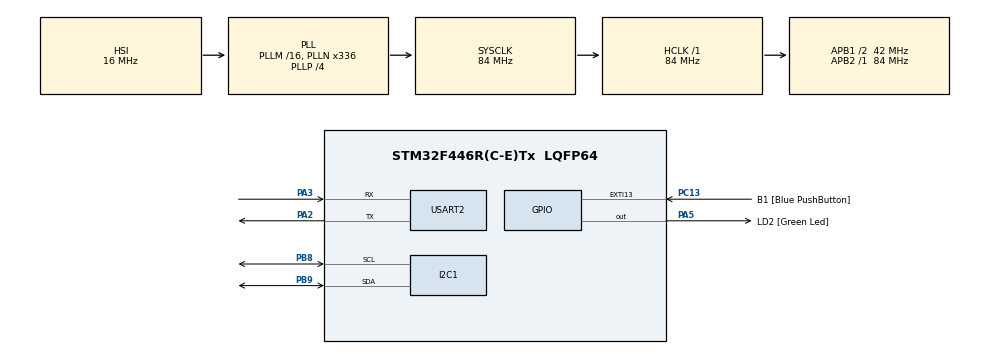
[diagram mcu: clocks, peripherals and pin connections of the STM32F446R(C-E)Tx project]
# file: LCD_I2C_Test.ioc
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Mcu.Family=STM32F4
Mcu.Name=STM32F446R(C-E)Tx
Mcu.Package=LQFP64
NVIC.PriorityGroup=NVIC_PRIORITYGROUP_0
PA13.GPIO_Label=TMS
PA13.Mode=Serial_Wire
PA13.Signal=SYS_JTMS-SWDIO
PA14.GPIO_Label=TCK
PA14.Mode=Serial_Wire
PA14.Signal=SYS_JTCK-SWCLK
PA2.Mode=Asynchronous
PA2.Signal=USART2_TX
PA3.Mode=Asynchronous
PA3.Signal=USART2_RX
PA4.Signal=USART2_CK
PA5.GPIO_Label=LD2 [Green Led]
PA5.Signal=GPIO_Output
PB3.GPIO_Label=SWO
PB3.Signal=SYS_JTDO-SWO
PB8.Mode=I2C
PB8.Signal=I2C1_SCL
PB9.Mode=I2C
PB9.Signal=I2C1_SDA
PC13.GPIO_Label=B1 [Blue PushButton]
PC13.GPIO_ModeDefaultEXTI=GPIO_MODE_IT_FALLING
PC13.Signal=GPXTI13
PC14-OSC32_IN.Mode=LSE-External-Oscillator
PC14-OSC32_IN.Signal=RCC_OSC32_IN
PC15-OSC32_OUT.Mode=LSE-External-Oscillator
PC15-OSC32_OUT.Signal=RCC_OSC32_OUT
PH0-OSC_IN.Mode=HSE-External-Oscillator
PH0-OSC_IN.Signal=RCC_OSC_IN
PH1-OSC_OUT.Mode=HSE-External-Oscillator
PH1-OSC_OUT.Signal=RCC_OSC_OUT
ProjectManager.HeapSize=0x200
ProjectManager.StackSize=0x400
ProjectManager.TargetToolchain=STM32CubeIDE
RCC.48MHZClocksFreq_Value=84000000
RCC.AHBFreq_Value=84000000
RCC.APB1CLKDivider=RCC_HCLK_DIV2
RCC.APB1Freq_Value=42000000
RCC.APB1TimFreq_Value=84000000
RCC.APB2Freq_Value=84000000
RCC.APB2TimFreq_Value=84000000
RCC.CortexFreq_Value=84000000
RCC.FLatency-AdvancedSettings=FLASH_LATENCY_2
RCC.HCLKFreq_Value=84000000
RCC.HSE_VALUE=8000000
RCC.HSI_VALUE=16000000
RCC.PLLN=336
RCC.PLLP=RCC_PLLP_DIV4
RCC.SYSCLKFreq_VALUE=84000000
RCC.SYSCLKSource=RCC_SYSCLKSOURCE_PLLCLK
RCC.USBFreq_Value=168000000
RCC.VCOOutputFreq_Value=336000000
USART2.VirtualMode=VM_ASYNC
board=NUCLEO-F446RE

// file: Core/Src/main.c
/* USER CODE BEGIN Header */
/**
  ******************************************************************************
  * @file           : main.c
  * @brief          : Main program body
  ******************************************************************************
  * @attention
  *
  * Copyright (c) 2026 STMicroelectronics.
  * All rights reserved.
  *
  * This software is licensed under terms that can be found in the LICENSE file
  * in the root directory of this software component.
  * If no LICENSE file comes with this software, it is provided AS-IS.
  *
  ******************************************************************************
  */
/* USER CODE END Header */
#include "main.h"

I2C_HandleTypeDef hi2c1;

UART_HandleTypeDef huart2;

void SystemClock_Config(void);
static void MX_GPIO_Init(void);
static void MX_USART2_UART_Init(void);
static void MX_I2C1_Init(void);

/* USER CODE BEGIN 0 */
extern UART_HandleTypeDef huart2;

int _write(int file, char *ptr, int len)
{
    HAL_UART_Transmit(&huart2, (uint8_t*)ptr, len, HAL_MAX_DELAY);
    return len;
}

extern I2C_HandleTypeDef hi2c1;

static void i2c_scan(void)
{
    printf("Starting I2C scan...\r\n");

    for (uint8_t addr = 1; addr < 127; addr++)
    {
        if (HAL_I2C_IsDeviceReady(&hi2c1, (uint16_t)(addr << 1), 2, 10) == HAL_OK)
        {
            printf("Found device at 0x%02X\r\n", addr);
        }
    }

    printf("Scan complete.\r\n");
}

#define LCD_ADDR (0x27 << 1)
static uint8_t lcd_backlight = 0x08;  // backlight bit

static void lcd_write(uint8_t data)
{
    HAL_I2C_Master_Transmit(&hi2c1, LCD_ADDR, &data, 1, HAL_MAX_DELAY);
}

static void lcd_pulse(uint8_t data)
{
    lcd_write(data | 0x04);    // EN = 1
    HAL_Delay(1);
    lcd_write(data & ~0x04);   // EN = 0
    HAL_Delay(1);
}

static void lcd_write4(uint8_t nibble, uint8_t rs)
{
    uint8_t data = 0;

    if (rs) data |= 0x01;          // RS
    data |= lcd_backlight;         // backlight ON
    data |= (nibble & 0xF0);       // D4..D7

    lcd_pulse(data);
}

static void lcd_cmd(uint8_t cmd)
{
    lcd_write4(cmd & 0xF0, 0);
    lcd_write4((cmd << 4) & 0xF0, 0);
    HAL_Delay(2);
}

static void lcd_data(uint8_t data)
{
    lcd_write4(data & 0xF0, 1);
    lcd_write4((data << 4) & 0xF0, 1);
    HAL_Delay(1);
}

static void lcd_init(void)
{
    HAL_Delay(50);

    // 8-bit init sequence, then switch to 4-bit mode
    lcd_write4(0x30, 0); HAL_Delay(5);
    lcd_write4(0x30, 0); HAL_Delay(1);
    lcd_write4(0x30, 0); HAL_Delay(1);
    lcd_write4(0x20, 0); HAL_Delay(1);  // 4-bit mode

    lcd_cmd(0x28);
    lcd_cmd(0x0C); // Display ON, cursor OFF
    lcd_cmd(0x01); // Clear display
    HAL_Delay(5);
    lcd_cmd(0x06); // Entry mode: increment
}

static void lcd_set_cursor(uint8_t row, uint8_t col)
{
    // 20x4 row addresses
    static const uint8_t row_offsets[] = {0x00, 0x40, 0x14, 0x54};
    lcd_cmd(0x80 | (row_offsets[row] + col));
}

static void lcd_print(const char *s)
{
    while (*s) lcd_data((uint8_t)*s++);
}

/* USER CODE END 0 */

int main(void)
{

  /* MCU Configuration--------------------------------------------------------*/

  /* Reset of all peripherals, Initializes the Flash interface and the Systick. */
  HAL_Init();

  /* Configure the system clock */
  SystemClock_Config();

  /* Initialize all configured peripherals */
  MX_GPIO_Init();
  MX_USART2_UART_Init();
  MX_I2C1_Init();
  /* USER CODE BEGIN 2 */
  HAL_Delay(100);   // small startup delay
  i2c_scan();

  lcd_init();

  lcd_set_cursor(0, 0);
  lcd_print("Senior Project Demo");

  lcd_set_cursor(1, 0);
  lcd_print("4x20 LCD");

  lcd_set_cursor(2, 0);
  lcd_print("line 3");

  lcd_set_cursor(3, 0);
  lcd_print("line 4");
  /* USER CODE END 2 */

  /* Infinite loop */
  while (1)
  {
	  char buffer[20];
	  uint32_t rpm = 0;

	  while (1)
	  {
	      snprintf(buffer, sizeof(buffer), "RPM: %lu    ", rpm);
	      lcd_set_cursor(0, 0);
	      lcd_print(buffer);

	      rpm += 100;
	      if (rpm > 5000) rpm = 0;

	      HAL_Delay(500);
	  }
  }
}

void SystemClock_Config(void)
{
  RCC_OscInitTypeDef RCC_OscInitStruct = {0};
  RCC_ClkInitTypeDef RCC_ClkInitStruct = {0};

  /** Configure the main internal regulator output voltage
  */
  __HAL_RCC_PWR_CLK_ENABLE();
  __HAL_PWR_VOLTAGESCALING_CONFIG(PWR_REGULATOR_VOLTAGE_SCALE3);

  /** Initializes the RCC Oscillators according to the specified parameters
  * in the RCC_OscInitTypeDef structure.
  */
  RCC_OscInitStruct.OscillatorType = RCC_OSCILLATORTYPE_HSI;
  RCC_OscInitStruct.HSIState = RCC_HSI_ON;
  RCC_OscInitStruct.HSICalibrationValue = RCC_HSICALIBRATION_DEFAULT;
  RCC_OscInitStruct.PLL.PLLState = RCC_PLL_ON;
  RCC_OscInitStruct.PLL.PLLSource = RCC_PLLSOURCE_HSI;
  RCC_OscInitStruct.PLL.PLLM = 16;
  RCC_OscInitStruct.PLL.PLLN = 336;
  RCC_OscInitStruct.PLL.PLLP = RCC_PLLP_DIV4;
  RCC_OscInitStruct.PLL.PLLQ = 2;
  RCC_OscInitStruct.PLL.PLLR = 2;
  if (HAL_RCC_OscConfig(&RCC_OscInitStruct) != HAL_OK)
  {
    Error_Handler();
  }

  /** Initializes the CPU, AHB and APB buses clocks
  */
  RCC_ClkInitStruct.ClockType = RCC_CLOCKTYPE_HCLK|RCC_CLOCKTYPE_SYSCLK
                              |RCC_CLOCKTYPE_PCLK1|RCC_CLOCKTYPE_PCLK2;
  RCC_ClkInitStruct.SYSCLKSource = RCC_SYSCLKSOURCE_PLLCLK;
  RCC_ClkInitStruct.AHBCLKDivider = RCC_SYSCLK_DIV1;
  RCC_ClkInitStruct.APB1CLKDivider = RCC_HCLK_DIV2;
  RCC_ClkInitStruct.APB2CLKDivider = RCC_HCLK_DIV1;

  if (HAL_RCC_ClockConfig(&RCC_ClkInitStruct, FLASH_LATENCY_2) != HAL_OK)
  {
    Error_Handler();
  }
}

static void MX_I2C1_Init(void)
{

  hi2c1.Instance = I2C1;
  hi2c1.Init.ClockSpeed = 100000;
  hi2c1.Init.DutyCycle = I2C_DUTYCYCLE_2;
  hi2c1.Init.OwnAddress1 = 0;
  hi2c1.Init.AddressingMode = I2C_ADDRESSINGMODE_7BIT;
  hi2c1.Init.DualAddressMode = I2C_DUALADDRESS_DISABLE;
  hi2c1.Init.OwnAddress2 = 0;
  hi2c1.Init.GeneralCallMode = I2C_GENERALCALL_DISABLE;
  hi2c1.Init.NoStretchMode = I2C_NOSTRETCH_DISABLE;
  if (HAL_I2C_Init(&hi2c1) != HAL_OK)
  {
    Error_Handler();
  }

}

static void MX_USART2_UART_Init(void)
{

  huart2.Instance = USART2;
  huart2.Init.BaudRate = 115200;
  huart2.Init.WordLength = UART_WORDLENGTH_8B;
  huart2.Init.StopBits = UART_STOPBITS_1;
  huart2.Init.Parity = UART_PARITY_NONE;
  huart2.Init.Mode = UART_MODE_TX_RX;
  huart2.Init.HwFlowCtl = UART_HWCONTROL_NONE;
  huart2.Init.OverSampling = UART_OVERSAMPLING_16;
  if (HAL_UART_Init(&huart2) != HAL_OK)
  {
    Error_Handler();
  }

}

static void MX_GPIO_Init(void)
{
  GPIO_InitTypeDef GPIO_InitStruct = {0};

  /* GPIO Ports Clock Enable */
  __HAL_RCC_GPIOC_CLK_ENABLE();
  __HAL_RCC_GPIOH_CLK_ENABLE();
  __HAL_RCC_GPIOA_CLK_ENABLE();
  __HAL_RCC_GPIOB_CLK_ENABLE();

  /*Configure GPIO pin Output Level */
  HAL_GPIO_WritePin(LD2_GPIO_Port, LD2_Pin, GPIO_PIN_RESET);

  /*Configure GPIO pin : B1_Pin */
  GPIO_InitStruct.Pin = B1_Pin;
  GPIO_InitStruct.Mode = GPIO_MODE_IT_FALLING;
  GPIO_InitStruct.Pull = GPIO_NOPULL;
  HAL_GPIO_Init(B1_GPIO_Port, &GPIO_InitStruct);

  /*Configure GPIO pin : LD2_Pin */
  GPIO_InitStruct.Pin = LD2_Pin;
  GPIO_InitStruct.Mode = GPIO_MODE_OUTPUT_PP;
  GPIO_InitStruct.Pull = GPIO_NOPULL;
  GPIO_InitStruct.Speed = GPIO_SPEED_FREQ_LOW;
  HAL_GPIO_Init(LD2_GPIO_Port, &GPIO_InitStruct);

}

void Error_Handler(void)
{
  __disable_irq();
  while (1)
  {
  }
}
